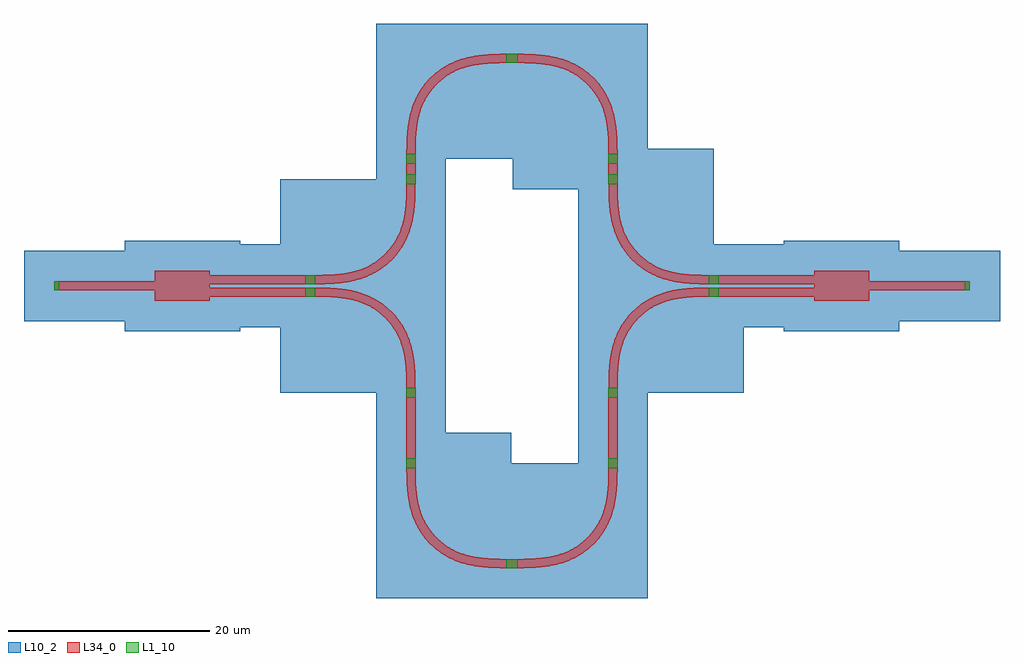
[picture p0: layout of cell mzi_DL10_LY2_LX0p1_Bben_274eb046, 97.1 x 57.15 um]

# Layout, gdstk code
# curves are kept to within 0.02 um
from math import pi, radians
import gdstk
lib = gdstk.Library(unit=1e-6, precision=1e-09)
def R(c, l, rs):  # rectangles x0, y0, x1, y1
    for r in rs: c.add(gdstk.rectangle(r[:2], r[2:], *l))
def P(c, l, *ps):  # polygons
    for p in ps: c.add(gdstk.Polygon(p, *l))
L1_10 = (1, 10)
L10_2 = (10, 2)
L34_0 = (34, 0)

mmi1x2_no_wm3_csstrip_no = lib.new_cell('mmi1x2_no_WM3_CSstrip_no')
R(mmi1x2_no_wm3_csstrip_no, L1_10, [(15,-1.075,15.5,-0.175), (-10,-0.45,-9.5,0.45), (15,0.175,15.5,1.075)])
P(mmi1x2_no_wm3_csstrip_no, L10_2, [(-3,-4.5),(-3,-3.5),(-13,-3.5),(-13,3.5),(-3,3.5),(-3,4.5),(8.5,4.5),(8.5,4.125),(18.5,4.125),(18.5,-4.125),(8.5,-4.125),(8.5,-4.5)])
P(mmi1x2_no_wm3_csstrip_no, L34_0, [(0,-1.5),(0,-0.5),(-10,-0.45),(-10,0.45),(0,0.5),(0,1.5),(5.5,1.5),(5.5,1.125),(15.5,1.075),(15.5,0.175),(5.5,0.125),(5.5,-0.125),(15.5,-0.175),(15.5,-1.075),(5.5,-1.125),(5.5,-1.5)])

bend_euler_no_csstrip_no = lib.new_cell('bend_euler_no_CSstrip_no')
R(bend_euler_no_csstrip_no, L1_10, [(0,-0.45,0.5,0.45), (9.55,9.5,10.45,10)])
R(bend_euler_no_csstrip_no, L10_2, [(-3,-3.45,13.45,10)])
P(bend_euler_no_csstrip_no, L34_0, [(0,-0.45),(0,0.45),(1.512,0.465),(2.592,0.526),(3.651,0.666),(4.55,0.875),(5.408,1.185),(6.101,1.538),(6.749,1.97),(7.433,2.567),(8.03,3.251),(8.462,3.899),(8.815,4.592),(9.125,5.45),(9.334,6.349),(9.474,7.408),(9.535,8.488),(9.55,10),(10.45,10),(10.435,8.462),(10.357,7.186),(10.22,6.189),(9.989,5.198),(9.64,4.231),(9.239,3.443),(8.657,2.591),(8.07,1.93),(7.409,1.343),(6.557,0.761),(5.769,0.36),(4.802,0.011),(3.811,-0.22),(2.814,-0.357),(1.538,-0.435)])

straight_no_csstrip_no_l = lib.new_cell('straight_no_CSstrip_no_L2')
R(straight_no_csstrip_no_l, L1_10, [(0,-0.45,0.5,0.45), (1.5,-0.45,2,0.45)])
R(straight_no_csstrip_no_l, L10_2, [(-3,-3.45,5,3.45)])
R(straight_no_csstrip_no_l, L34_0, [(0,-0.45,2,0.45)])

c_straight_no_csstrip_no_l = lib.new_cell('straight_no_CSstrip_no_L7')
R(c_straight_no_csstrip_no_l, L1_10, [(0,-0.45,0.5,0.45), (6.5,-0.45,7,0.45)])
R(c_straight_no_csstrip_no_l, L10_2, [(-3,-3.45,10,3.45)])
R(c_straight_no_csstrip_no_l, L34_0, [(0,-0.45,7,0.45)])

c_straight_no_csstrip_no_l_ = lib.new_cell('straight_no_CSstrip_no_L0p1')
R(c_straight_no_csstrip_no_l_, L1_10, [(-0.4,-0.45,0.1,0.45), (0,-0.45,0.5,0.45)])
R(c_straight_no_csstrip_no_l_, L10_2, [(-3,-3.45,3.1,3.45)])
R(c_straight_no_csstrip_no_l_, L34_0, [(0,-0.45,0.1,0.45)])

mzi_dl10_ly2_lx0p1_bben_ = lib.new_cell('mzi_DL10_LY2_LX0p1_Bben_274eb046')
mzi_dl10_ly2_lx0p1_bben_.add(gdstk.Reference(mmi1x2_no_wm3_csstrip_no, (0,0)))
mzi_dl10_ly2_lx0p1_bben_.add(gdstk.Reference(bend_euler_no_csstrip_no, (15.5,-0.625), x_reflection=True))
mzi_dl10_ly2_lx0p1_bben_.add(gdstk.Reference(bend_euler_no_csstrip_no, (25.5,-17.625), rotation=3*pi/2))
mzi_dl10_ly2_lx0p1_bben_.add(gdstk.Reference(bend_euler_no_csstrip_no, (15.5,0.625)))
mzi_dl10_ly2_lx0p1_bben_.add(gdstk.Reference(bend_euler_no_csstrip_no, (35.5,22.625), rotation=pi))
mzi_dl10_ly2_lx0p1_bben_.add(gdstk.Reference(bend_euler_no_csstrip_no, (45.6,12.625), rotation=pi/2))
mzi_dl10_ly2_lx0p1_bben_.add(gdstk.Reference(bend_euler_no_csstrip_no, (45.6,10.625), rotation=3*pi/2))
mzi_dl10_ly2_lx0p1_bben_.add(gdstk.Reference(bend_euler_no_csstrip_no, (35.6,-27.625)))
mzi_dl10_ly2_lx0p1_bben_.add(gdstk.Reference(bend_euler_no_csstrip_no, (55.6,-0.625), rotation=pi))
mzi_dl10_ly2_lx0p1_bben_.add(gdstk.Reference(straight_no_csstrip_no_l, (25.5,10.625), rotation=pi/2))
mzi_dl10_ly2_lx0p1_bben_.add(gdstk.Reference(c_straight_no_csstrip_no_l, (25.5,-10.625), rotation=3*pi/2))
mzi_dl10_ly2_lx0p1_bben_.add(gdstk.Reference(c_straight_no_csstrip_no_l_, (35.5,22.625)))
mzi_dl10_ly2_lx0p1_bben_.add(gdstk.Reference(c_straight_no_csstrip_no_l_, (35.5,-27.625)))
mzi_dl10_ly2_lx0p1_bben_.add(gdstk.Reference(mmi1x2_no_wm3_csstrip_no, (71.1,0), rotation=pi, x_reflection=True))
mzi_dl10_ly2_lx0p1_bben_.add(gdstk.Reference(straight_no_csstrip_no_l, (45.6,10.625), rotation=pi/2))
mzi_dl10_ly2_lx0p1_bben_.add(gdstk.Reference(c_straight_no_csstrip_no_l, (45.6,-17.625), rotation=pi/2))

lib.write_gds('mzi_DL10_LY2_LX0p1_Bben_274eb046.gds')
